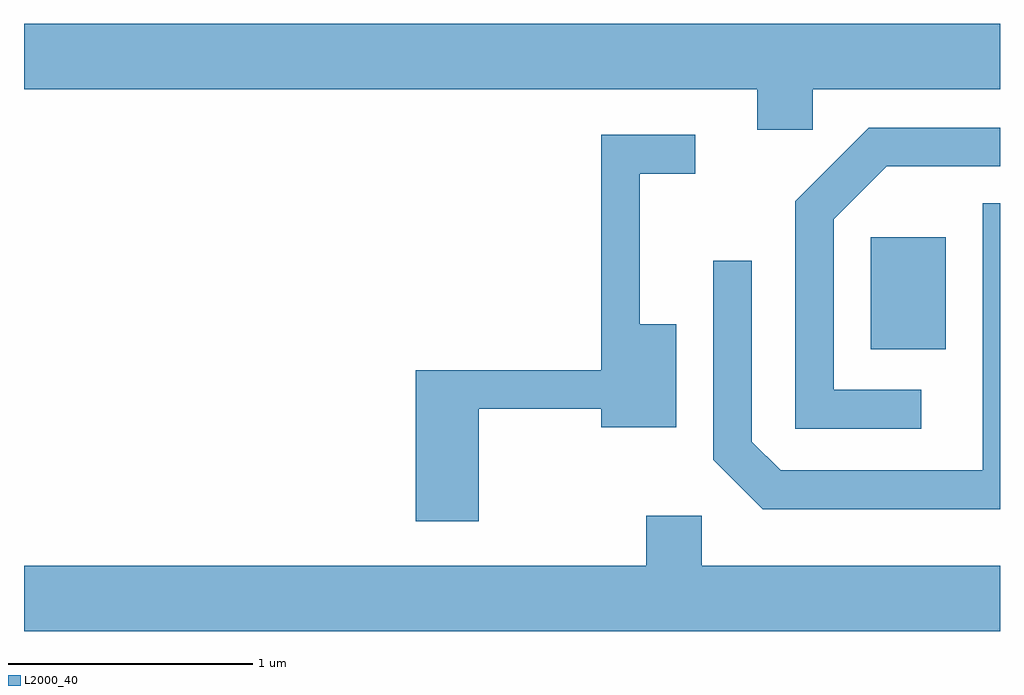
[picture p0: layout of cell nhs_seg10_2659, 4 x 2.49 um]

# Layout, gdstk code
import gdstk
lib = gdstk.Library(unit=1e-6, precision=1e-09)
def R(c, l, rs):  # rectangles x0, y0, x1, y1
    for r in rs: c.add(gdstk.rectangle(r[:2], r[2:], *l))
def P(c, l, *ps):  # polygons
    for p in ps: c.add(gdstk.Polygon(p, *l))
L2000_40 = (2000, 40)

nhs_seg10_2659 = lib.new_cell('nhs_seg10_2659')
R(nhs_seg10_2659, L2000_40, [(267.081,2110.631,267.389,2111.089)])
P(nhs_seg10_2659, L2000_40, [(266.844,2111.696),(267.611,2111.696),(267.611,2111.964),(263.611,2111.964),(263.611,2111.696),(266.616,2111.696),(266.616,2111.531),(266.844,2111.531)],
  [(267.288,2110.464),(266.929,2110.464),(266.929,2111.164),(267.147,2111.381),(267.611,2111.381),(267.611,2111.539),(267.074,2111.539),(266.771,2111.237),(266.771,2110.306),(267.288,2110.306)],
  [(265.474,2110.386),(265.976,2110.386),(265.976,2110.311),(266.284,2110.311),(266.284,2110.734),(266.134,2110.734),(266.134,2111.351),(266.363,2111.351),(266.363,2111.509),(265.976,2111.509),(265.976,2110.544),(265.216,2110.544),(265.216,2109.926),(265.474,2109.926)],
  [(267.611,2111.229),(267.541,2111.229),(267.541,2110.134),(266.712,2110.134),(266.594,2110.252),(266.594,2110.993),(266.436,2110.993),(266.436,2110.179),(266.639,2109.976),(267.611,2109.976)],
  [(267.611,2109.744),(266.389,2109.744),(266.389,2109.949),(266.161,2109.949),(266.161,2109.744),(263.611,2109.744),(263.611,2109.476),(267.611,2109.476)])

lib.write_gds('nhs_seg10_2659.gds')
